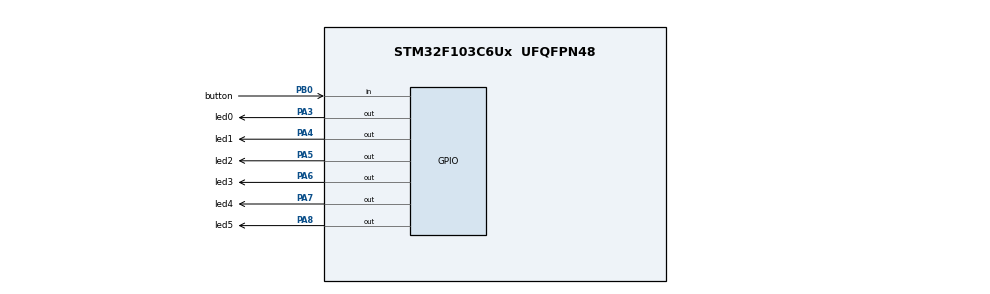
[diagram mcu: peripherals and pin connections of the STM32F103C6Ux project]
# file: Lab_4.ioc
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Mcu.Family=STM32F1
Mcu.Name=STM32F103C6Ux
Mcu.Package=UFQFPN48
NVIC.PriorityGroup=NVIC_PRIORITYGROUP_4
NVIC.TIM2_IRQn=true\:0\:0\:false\:false\:true\:true\:true\:true
PA3.GPIO_Label=led0
PA3.Signal=GPIO_Output
PA4.GPIO_Label=led1
PA4.Signal=GPIO_Output
PA5.GPIO_Label=led2
PA5.Signal=GPIO_Output
PA6.GPIO_Label=led3
PA6.Signal=GPIO_Output
PA7.GPIO_Label=led4
PA7.Signal=GPIO_Output
PA8.GPIO_Label=led5
PA8.Signal=GPIO_Output
PB0.GPIO_Label=button
PB0.GPIO_PuPd=GPIO_PULLUP
PB0.Signal=GPIO_Input
ProjectManager.HeapSize=0x200
ProjectManager.StackSize=0x400
ProjectManager.TargetToolchain=STM32CubeIDE
RCC.APB1Freq_Value=8000000
RCC.APB2Freq_Value=8000000
TIM2.Period=9
TIM2.Prescaler=7999
VP_TIM2_VS_ClockSourceINT.Mode=Internal
board=custom

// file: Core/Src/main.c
/* USER CODE BEGIN Header */
/**
  ******************************************************************************
  * @file           : main.c
  * @brief          : Main program body
  ******************************************************************************
  * @attention
  *
  * Copyright (c) 2022 STMicroelectronics.
  * All rights reserved.
  *
  * This software is licensed under terms that can be found in the LICENSE file
  * in the root directory of this software component.
  * If no LICENSE file comes with this software, it is provided AS-IS.
  *
  ******************************************************************************
  */
/* USER CODE END Header */
#include "main.h"

/* USER CODE BEGIN Includes */
#include "button.h"
#include "timer.h"
#include "sche.h"
#include "display.h"
/* USER CODE END Includes */

TIM_HandleTypeDef htim2;

void SystemClock_Config(void);
static void MX_GPIO_Init(void);
static void MX_TIM2_Init(void);

int main(void)
{

  /* MCU Configuration--------------------------------------------------------*/

  /* Reset of all peripherals, Initializes the Flash interface and the Systick. */
  HAL_Init();

  /* Configure the system clock */
  SystemClock_Config();

  /* Initialize all configured peripherals */
  MX_GPIO_Init();
  MX_TIM2_Init();
  /* USER CODE BEGIN 2 */

  HAL_TIM_Base_Start_IT(&htim2);

  SCH_Init();

//  setTimer0(10);
//  setTimer1(10);
//
//  SCH_Add_Task(display74hc595, 0, 50);
//  SCH_Add_Task(AppTrafficLight_1, 1, 100);
//  SCH_Add_Task(display7SEG, 2, 150);
//  SCH_Add_Task(AppTrafficLight_2, 3, 200);

  SCH_Add_Task(Led0, 0, 50);
  SCH_Add_Task(Led1, 0, 100);
  SCH_Add_Task(Led2, 0, 150);
  SCH_Add_Task(Led3, 0, 200);
  SCH_Add_Task(Led4, 0, 250);
  SCH_Add_Task(getKeyInput, 0, 1);
  /* USER CODE END 2 */

  /* Infinite loop */
  /* USER CODE BEGIN WHILE */
  HAL_GPIO_WritePin(GPIOA, led0_Pin | led1_Pin | led2_Pin | led3_Pin | led4_Pin | led5_Pin, SET);

  while (1)
  {
	  SCH_Dispatch_Tasks();
    /* USER CODE END WHILE */

    /* USER CODE BEGIN 3 */
  }
  return 0;
  /* USER CODE END 3 */
}

void SystemClock_Config(void)
{
  RCC_OscInitTypeDef RCC_OscInitStruct = {0};
  RCC_ClkInitTypeDef RCC_ClkInitStruct = {0};

  /** Initializes the RCC Oscillators according to the specified parameters
  * in the RCC_OscInitTypeDef structure.
  */
  RCC_OscInitStruct.OscillatorType = RCC_OSCILLATORTYPE_HSI;
  RCC_OscInitStruct.HSIState = RCC_HSI_ON;
  RCC_OscInitStruct.HSICalibrationValue = RCC_HSICALIBRATION_DEFAULT;
  RCC_OscInitStruct.PLL.PLLState = RCC_PLL_NONE;
  if (HAL_RCC_OscConfig(&RCC_OscInitStruct) != HAL_OK)
  {
    Error_Handler();
  }

  /** Initializes the CPU, AHB and APB buses clocks
  */
  RCC_ClkInitStruct.ClockType = RCC_CLOCKTYPE_HCLK|RCC_CLOCKTYPE_SYSCLK
                              |RCC_CLOCKTYPE_PCLK1|RCC_CLOCKTYPE_PCLK2;
  RCC_ClkInitStruct.SYSCLKSource = RCC_SYSCLKSOURCE_HSI;
  RCC_ClkInitStruct.AHBCLKDivider = RCC_SYSCLK_DIV1;
  RCC_ClkInitStruct.APB1CLKDivider = RCC_HCLK_DIV1;
  RCC_ClkInitStruct.APB2CLKDivider = RCC_HCLK_DIV1;

  if (HAL_RCC_ClockConfig(&RCC_ClkInitStruct, FLASH_LATENCY_0) != HAL_OK)
  {
    Error_Handler();
  }
}

static void MX_TIM2_Init(void)
{

  TIM_ClockConfigTypeDef sClockSourceConfig = {0};
  TIM_MasterConfigTypeDef sMasterConfig = {0};

  htim2.Instance = TIM2;
  htim2.Init.Prescaler = 7999;
  htim2.Init.CounterMode = TIM_COUNTERMODE_UP;
  htim2.Init.Period = 9;
  htim2.Init.ClockDivision = TIM_CLOCKDIVISION_DIV1;
  htim2.Init.AutoReloadPreload = TIM_AUTORELOAD_PRELOAD_DISABLE;
  if (HAL_TIM_Base_Init(&htim2) != HAL_OK)
  {
    Error_Handler();
  }
  sClockSourceConfig.ClockSource = TIM_CLOCKSOURCE_INTERNAL;
  if (HAL_TIM_ConfigClockSource(&htim2, &sClockSourceConfig) != HAL_OK)
  {
    Error_Handler();
  }
  sMasterConfig.MasterOutputTrigger = TIM_TRGO_RESET;
  sMasterConfig.MasterSlaveMode = TIM_MASTERSLAVEMODE_DISABLE;
  if (HAL_TIMEx_MasterConfigSynchronization(&htim2, &sMasterConfig) != HAL_OK)
  {
    Error_Handler();
  }

}

static void MX_GPIO_Init(void)
{
  GPIO_InitTypeDef GPIO_InitStruct = {0};

  /* GPIO Ports Clock Enable */
  __HAL_RCC_GPIOA_CLK_ENABLE();
  __HAL_RCC_GPIOB_CLK_ENABLE();

  /*Configure GPIO pin Output Level */
  HAL_GPIO_WritePin(GPIOA, led0_Pin|led1_Pin|led2_Pin|led3_Pin
                          |led4_Pin|led5_Pin, GPIO_PIN_RESET);

  /*Configure GPIO pins : led0_Pin led1_Pin led2_Pin led3_Pin
                           led4_Pin led5_Pin */
  GPIO_InitStruct.Pin = led0_Pin|led1_Pin|led2_Pin|led3_Pin
                          |led4_Pin|led5_Pin;
  GPIO_InitStruct.Mode = GPIO_MODE_OUTPUT_PP;
  GPIO_InitStruct.Pull = GPIO_NOPULL;
  GPIO_InitStruct.Speed = GPIO_SPEED_FREQ_LOW;
  HAL_GPIO_Init(GPIOA, &GPIO_InitStruct);

  /*Configure GPIO pin : button_Pin */
  GPIO_InitStruct.Pin = button_Pin;
  GPIO_InitStruct.Mode = GPIO_MODE_INPUT;
  GPIO_InitStruct.Pull = GPIO_PULLUP;
  HAL_GPIO_Init(button_GPIO_Port, &GPIO_InitStruct);

}

/* USER CODE BEGIN 4 */
void HAL_TIM_PeriodElapsedCallback(TIM_HandleTypeDef* htim) {
	SCH_Update();
	timerRun();
}
/* USER CODE END 4 */

void Error_Handler(void)
{
  __disable_irq();
  while (1)
  {
  }
}
